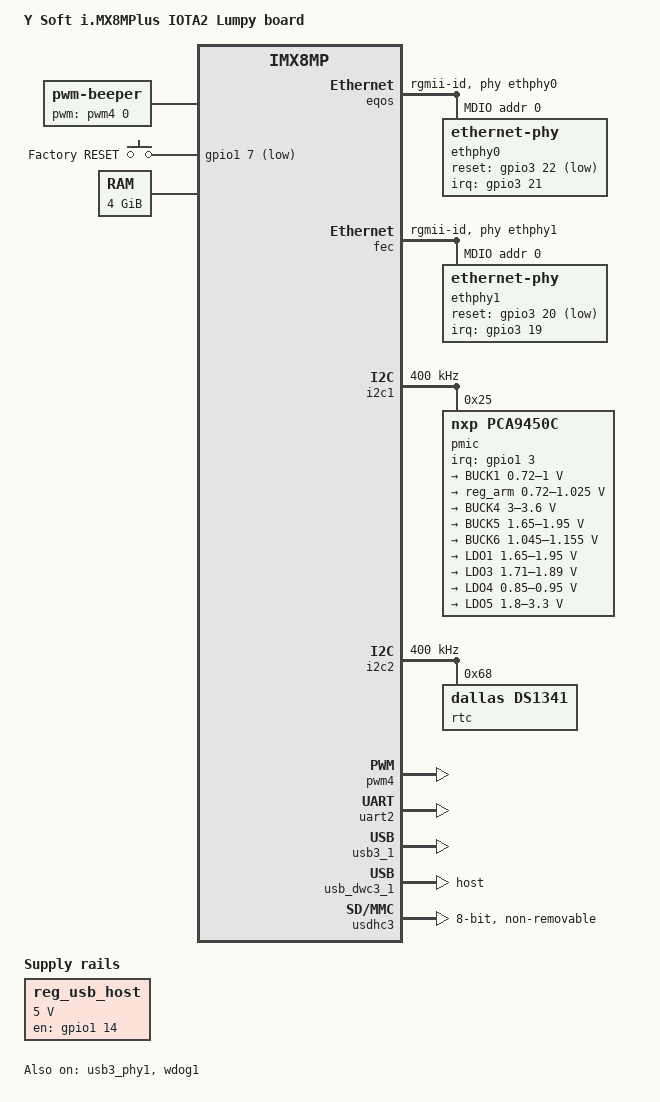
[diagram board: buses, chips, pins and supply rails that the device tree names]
// SPDX-License-Identifier: (GPL-2.0+ OR MIT)
/*
 * Copyright 2023 Y Soft
 */

/dts-v1/;

#include "imx8mp.dtsi"

/ {
	compatible = "ysoft,imx8mp-iota2-lumpy", "fsl,imx8mp";
	model = "Y Soft i.MX8MPlus IOTA2 Lumpy board";

	beeper {
		compatible = "pwm-beeper";
		pwms = <&pwm4 0 500000 0>;
	};

	chosen {
		stdout-path = &uart2;
	};

	gpio_keys: gpio-keys {
		compatible = "gpio-keys";
		pinctrl-0 = <&pinctrl_gpio_keys>;
		pinctrl-names = "default";

		button-reset {
			gpios = <&gpio1 7 GPIO_ACTIVE_LOW>;
			label = "Factory RESET";
			linux,code = <BTN_0>;
		};
	};

	reg_usb_host: regulator-usb-host {
		compatible = "regulator-fixed";
		pinctrl-0 = <&pinctrl_usb_host_vbus>;
		pinctrl-names = "default";
		regulator-max-microvolt = <5000000>;
		regulator-min-microvolt = <5000000>;
		regulator-name = "usb-host";
		gpio = <&gpio1 14 GPIO_ACTIVE_HIGH>;
		enable-active-high;
	};

	memory@40000000 {
		reg = <0x0 0x40000000 0 0x80000000>,
		      <0x1 0x00000000 0 0x80000000>;
		device_type = "memory";
	};
};

&A53_0 {
	cpu-supply = <&reg_arm>;
};

&A53_1 {
	cpu-supply = <&reg_arm>;
};

&A53_2 {
	cpu-supply = <&reg_arm>;
};

&A53_3 {
	cpu-supply = <&reg_arm>;
};

&eqos {
	phy-handle = <&ethphy0>;
	phy-mode = "rgmii-id";
	pinctrl-0 = <&pinctrl_eqos>;
	pinctrl-names = "default";
	status = "okay";

	mdio {
		compatible = "snps,dwmac-mdio";
		#address-cells = <1>;
		#size-cells = <0>;

		ethphy0: ethernet-phy@0 {
			reg = <0>;
			interrupts = <21 IRQ_TYPE_LEVEL_LOW>;
			interrupt-parent = <&gpio3>;
			pinctrl-0 = <&pinctrl_ethphy0>;
			pinctrl-names = "default";
			reset-assert-us = <1000>;
			reset-deassert-us = <1000>;
			reset-gpios = <&gpio3 22 GPIO_ACTIVE_LOW>;
			micrel,led-mode = <0>;
		};
	};
};

&fec {
	fsl,magic-packet;
	phy-handle = <&ethphy1>;
	phy-mode = "rgmii-id";
	pinctrl-0 = <&pinctrl_fec>;
	pinctrl-names = "default";
	status = "okay";

	mdio {
		#address-cells = <1>;
		#size-cells = <0>;

		ethphy1: ethernet-phy@0 {
			reg = <0>;
			interrupts = <19 IRQ_TYPE_LEVEL_LOW>;
			interrupt-parent = <&gpio3>;
			pinctrl-0 = <&pinctrl_ethphy1>;
			pinctrl-names = "default";
			reset-assert-us = <1000>;
			reset-deassert-us = <1000>;
			reset-gpios = <&gpio3 20 GPIO_ACTIVE_LOW>;
			micrel,led-mode = <0>;
		};
	};
};

&i2c1 {
	clock-frequency = <400000>;
	pinctrl-0 = <&pinctrl_i2c1>;
	pinctrl-names = "default";
	status = "okay";

	pmic@25 {
		compatible = "nxp,pca9450c";
		reg = <0x25>;
		interrupts = <3 IRQ_TYPE_LEVEL_LOW>;
		interrupt-parent = <&gpio1>;
		pinctrl-0 = <&pinctrl_pmic>;
		pinctrl-names = "default";

		regulators {
			BUCK1 {
				regulator-always-on;
				regulator-boot-on;
				regulator-max-microvolt = <1000000>;
				regulator-min-microvolt = <720000>;
				regulator-name = "BUCK1";
				regulator-ramp-delay = <3125>;
			};

			reg_arm: BUCK2 {
				nxp,dvs-run-voltage = <950000>;
				nxp,dvs-standby-voltage = <850000>;
				regulator-always-on;
				regulator-boot-on;
				regulator-max-microvolt = <1025000>;
				regulator-min-microvolt = <720000>;
				regulator-name = "BUCK2";
				regulator-ramp-delay = <3125>;
			};

			BUCK4 {
				regulator-always-on;
				regulator-boot-on;
				regulator-max-microvolt = <3600000>;
				regulator-min-microvolt = <3000000>;
				regulator-name = "BUCK4";
			};

			BUCK5 {
				regulator-always-on;
				regulator-boot-on;
				regulator-max-microvolt = <1950000>;
				regulator-min-microvolt = <1650000>;
				regulator-name = "BUCK5";
			};

			BUCK6 {
				regulator-always-on;
				regulator-boot-on;
				regulator-max-microvolt = <1155000>;
				regulator-min-microvolt = <1045000>;
				regulator-name = "BUCK6";
			};

			LDO1 {
				regulator-always-on;
				regulator-boot-on;
				regulator-max-microvolt = <1950000>;
				regulator-min-microvolt = <1650000>;
				regulator-name = "LDO1";
			};

			LDO3 {
				regulator-always-on;
				regulator-boot-on;
				regulator-max-microvolt = <1890000>;
				regulator-min-microvolt = <1710000>;
				regulator-name = "LDO3";
			};

			LDO4 {
				regulator-always-on;
				regulator-boot-on;
				regulator-max-microvolt = <950000>;
				regulator-min-microvolt = <850000>;
				regulator-name = "LDO4";
			};

			LDO5 {
				regulator-always-on;
				regulator-boot-on;
				regulator-max-microvolt = <3300000>;
				regulator-min-microvolt = <1800000>;
				regulator-name = "LDO5";
			};
		};
	};
};

&i2c2 {
	clock-frequency = <400000>;
	pinctrl-0 = <&pinctrl_i2c2>;
	pinctrl-names = "default";
	status = "okay";

	rtc: rtc@68 {
		compatible = "dallas,ds1341";
		reg = <0x68>;
	};
};

&pwm4 {
	pinctrl-0 = <&pinctrl_pwm4>;
	pinctrl-names = "default";
	status = "okay";
};

&uart2 {
	pinctrl-0 = <&pinctrl_uart2>;
	pinctrl-names = "default";
	status = "okay";
};

&usb3_1 {
	status = "okay";
};

&usb3_phy1 {
	vbus-supply = <&reg_usb_host>;
	status = "okay";
};

&usb_dwc3_1 {
	dr_mode = "host";
	status = "okay";
};

&usdhc3 {
	assigned-clocks = <&clk IMX8MP_CLK_USDHC3>;
	assigned-clock-rates = <400000000>;
	pinctrl-0 = <&pinctrl_usdhc3>;
	pinctrl-1 = <&pinctrl_usdhc3_100mhz>;
	pinctrl-2 = <&pinctrl_usdhc3_200mhz>;
	pinctrl-names = "default", "state_100mhz", "state_200mhz";
	bus-width = <8>;
	non-removable;
	status = "okay";
};

&wdog1 {
	pinctrl-0 = <&pinctrl_wdog>;
	pinctrl-names = "default";
	fsl,ext-reset-output;
	status = "okay";
};

&iomuxc {
	pinctrl_eqos: eqosgrp {
		fsl,pins = <
			MX8MP_IOMUXC_ENET_MDC__ENET_QOS_MDC		0x2
			MX8MP_IOMUXC_ENET_MDIO__ENET_QOS_MDIO		0x2
			MX8MP_IOMUXC_ENET_RD0__ENET_QOS_RGMII_RD0	0x90
			MX8MP_IOMUXC_ENET_RD1__ENET_QOS_RGMII_RD1	0x90
			MX8MP_IOMUXC_ENET_RD2__ENET_QOS_RGMII_RD2	0x90
			MX8MP_IOMUXC_ENET_RD3__ENET_QOS_RGMII_RD3	0x90
			MX8MP_IOMUXC_ENET_RX_CTL__ENET_QOS_RGMII_RX_CTL	0x90
			MX8MP_IOMUXC_ENET_RXC__CCM_ENET_QOS_CLOCK_GENERATE_RX_CLK	0x90
			MX8MP_IOMUXC_ENET_TD0__ENET_QOS_RGMII_TD0	0x16
			MX8MP_IOMUXC_ENET_TD1__ENET_QOS_RGMII_TD1	0x16
			MX8MP_IOMUXC_ENET_TD2__ENET_QOS_RGMII_TD2	0x16
			MX8MP_IOMUXC_ENET_TD3__ENET_QOS_RGMII_TD3	0x16
			MX8MP_IOMUXC_ENET_TX_CTL__ENET_QOS_RGMII_TX_CTL	0x16
			MX8MP_IOMUXC_ENET_TXC__CCM_ENET_QOS_CLOCK_GENERATE_TX_CLK	0x16
		>;
	};

	pinctrl_ethphy0: ethphy0grp {
		fsl,pins = <
			MX8MP_IOMUXC_SAI5_RXD0__GPIO3_IO21		0x10
			MX8MP_IOMUXC_SAI5_RXD1__GPIO3_IO22		0x10
		>;
	};

	pinctrl_ethphy1: ethphy1grp {
		fsl,pins = <
			MX8MP_IOMUXC_SAI5_RXFS__GPIO3_IO19		0x10
			MX8MP_IOMUXC_SAI5_RXC__GPIO3_IO20		0x10
		>;
	};

	pinctrl_fec: fecgrp {
		fsl,pins = <
			MX8MP_IOMUXC_SAI1_RXD2__ENET1_MDC		0x2
			MX8MP_IOMUXC_SAI1_RXD3__ENET1_MDIO		0x2
			MX8MP_IOMUXC_SAI1_RXD4__ENET1_RGMII_RD0		0x90
			MX8MP_IOMUXC_SAI1_RXD5__ENET1_RGMII_RD1		0x90
			MX8MP_IOMUXC_SAI1_RXD6__ENET1_RGMII_RD2		0x90
			MX8MP_IOMUXC_SAI1_RXD7__ENET1_RGMII_RD3		0x90
			MX8MP_IOMUXC_SAI1_TXC__ENET1_RGMII_RXC		0x90
			MX8MP_IOMUXC_SAI1_TXFS__ENET1_RGMII_RX_CTL	0x90
			MX8MP_IOMUXC_SAI1_TXD0__ENET1_RGMII_TD0		0x16
			MX8MP_IOMUXC_SAI1_TXD1__ENET1_RGMII_TD1		0x16
			MX8MP_IOMUXC_SAI1_TXD2__ENET1_RGMII_TD2		0x16
			MX8MP_IOMUXC_SAI1_TXD3__ENET1_RGMII_TD3		0x16
			MX8MP_IOMUXC_SAI1_TXD4__ENET1_RGMII_TX_CTL	0x16
			MX8MP_IOMUXC_SAI1_TXD5__ENET1_RGMII_TXC		0x16
		>;
	};

	pinctrl_gpio_keys: gpiokeysgrp {
		fsl,pins = <
			MX8MP_IOMUXC_GPIO1_IO07__GPIO1_IO07	0x80
		>;
	};

	pinctrl_i2c1: i2c1grp {
		fsl,pins = <
			MX8MP_IOMUXC_I2C1_SCL__I2C1_SCL		0x400001c2
			MX8MP_IOMUXC_I2C1_SDA__I2C1_SDA		0x400001c2
		>;
	};

	pinctrl_i2c2: i2c2grp {
		fsl,pins = <
			MX8MP_IOMUXC_I2C2_SCL__I2C2_SCL		0x400001c2
			MX8MP_IOMUXC_I2C2_SDA__I2C2_SDA		0x400001c2
		>;
	};

	pinctrl_pmic: pmicgrp {
		fsl,pins = <
			MX8MP_IOMUXC_GPIO1_IO03__GPIO1_IO03	0x1c0
		>;
	};

	pinctrl_pwm4: pwm4grp {
		fsl,pins = <
			MX8MP_IOMUXC_SAI3_MCLK__PWM4_OUT	0x102
		>;
	};

	pinctrl_uart2: uart2grp {
		fsl,pins = <
			MX8MP_IOMUXC_UART2_RXD__UART2_DCE_RX	0x0
			MX8MP_IOMUXC_UART2_TXD__UART2_DCE_TX	0x0
		>;
	};

	pinctrl_usb_host_vbus: usb1grp {
		fsl,pins = <
			MX8MP_IOMUXC_GPIO1_IO14__USB2_OTG_PWR	0x0
		>;
	};

	pinctrl_usdhc3_100mhz: usdhc3-100mhzgrp {
		fsl,pins = <
			MX8MP_IOMUXC_NAND_WE_B__USDHC3_CLK	0x194
			MX8MP_IOMUXC_NAND_WP_B__USDHC3_CMD	0x1d4
			MX8MP_IOMUXC_NAND_DATA04__USDHC3_DATA0	0x1d4
			MX8MP_IOMUXC_NAND_DATA05__USDHC3_DATA1	0x1d4
			MX8MP_IOMUXC_NAND_DATA06__USDHC3_DATA2	0x1d4
			MX8MP_IOMUXC_NAND_DATA07__USDHC3_DATA3	0x1d4
			MX8MP_IOMUXC_NAND_RE_B__USDHC3_DATA4	0x1d4
			MX8MP_IOMUXC_NAND_CE2_B__USDHC3_DATA5	0x1d4
			MX8MP_IOMUXC_NAND_CE3_B__USDHC3_DATA6	0x1d4
			MX8MP_IOMUXC_NAND_CLE__USDHC3_DATA7	0x1d4
			MX8MP_IOMUXC_NAND_CE1_B__USDHC3_STROBE	0x194
		>;
	};

	pinctrl_usdhc3_200mhz: usdhc3-200mhzgrp {
		fsl,pins = <
			MX8MP_IOMUXC_NAND_WE_B__USDHC3_CLK	0x196
			MX8MP_IOMUXC_NAND_WP_B__USDHC3_CMD	0x1d6
			MX8MP_IOMUXC_NAND_DATA04__USDHC3_DATA0	0x1d6
			MX8MP_IOMUXC_NAND_DATA05__USDHC3_DATA1	0x1d6
			MX8MP_IOMUXC_NAND_DATA06__USDHC3_DATA2	0x1d6
			MX8MP_IOMUXC_NAND_DATA07__USDHC3_DATA3	0x1d6
			MX8MP_IOMUXC_NAND_RE_B__USDHC3_DATA4	0x1d6
			MX8MP_IOMUXC_NAND_CE2_B__USDHC3_DATA5	0x1d6
			MX8MP_IOMUXC_NAND_CE3_B__USDHC3_DATA6	0x1d6
			MX8MP_IOMUXC_NAND_CLE__USDHC3_DATA7	0x1d6
			MX8MP_IOMUXC_NAND_CE1_B__USDHC3_STROBE	0x196
		>;
	};

	pinctrl_usdhc3: usdhc3grp {
		fsl,pins = <
			MX8MP_IOMUXC_NAND_WE_B__USDHC3_CLK	0x190
			MX8MP_IOMUXC_NAND_WP_B__USDHC3_CMD	0x1d0
			MX8MP_IOMUXC_NAND_DATA04__USDHC3_DATA0	0x1d0
			MX8MP_IOMUXC_NAND_DATA05__USDHC3_DATA1	0x1d0
			MX8MP_IOMUXC_NAND_DATA06__USDHC3_DATA2	0x1d0
			MX8MP_IOMUXC_NAND_DATA07__USDHC3_DATA3	0x1d0
			MX8MP_IOMUXC_NAND_RE_B__USDHC3_DATA4	0x1d0
			MX8MP_IOMUXC_NAND_CE2_B__USDHC3_DATA5	0x1d0
			MX8MP_IOMUXC_NAND_CE3_B__USDHC3_DATA6	0x1d0
			MX8MP_IOMUXC_NAND_CLE__USDHC3_DATA7	0x1d0
			MX8MP_IOMUXC_NAND_CE1_B__USDHC3_STROBE	0x190
		>;
	};

	pinctrl_wdog: wdoggrp {
		fsl,pins = <
			MX8MP_IOMUXC_GPIO1_IO02__WDOG1_WDOG_B	0x166
		>;
	};
};
